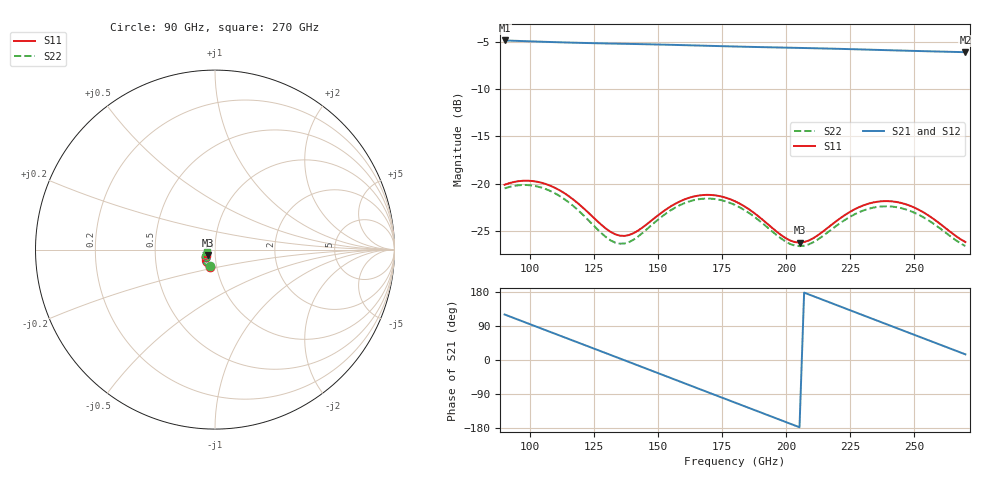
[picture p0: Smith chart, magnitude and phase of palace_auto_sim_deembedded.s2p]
! Created with skrf 1.11.0 (http://scikit-rf.org).
# GHz S DB R 50.0
!freq dBS11 angS11 dBS21 angS21 dBS12 angS12 dBS22 angS22
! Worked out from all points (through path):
!   101 points, 90 GHz to 270 GHz, reference 50 ohm
!   highest |S21| = -4.87 dB at 90 GHz (marker M1); lowest = -6.1 dB at 270 GHz (marker M2)
!   group delay of S21, straight-line fit = 7.18 ps
!   lowest |S11| = -26.2 dB at 205.2 GHz (marker M3), VSWR 1.10, Z = 46.3 - j2.87 ohm
!   |S11| at or under -10 dB: start of sweep to end of sweep
!   |S22| runs from -26.6 to -20.1 dB; largest |S21 - S12| = 9.7e-14
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90  -20.10 -106.8  -4.87 120.1  -4.87 120.1  -20.49 -108.4
97.2  -19.69 -117.1  -4.93 101.5  -4.93 101.5  -20.13 -119.1
104.4  -19.89 -127.8  -5.00 82.9  -5.00 82.9  -20.41 -130.2
111.6  -20.71 -137.4  -5.06 64.3  -5.06 64.3  -21.31 -140.1
120.6  -22.53 -144.9  -5.13 41.2  -5.13 41.2  -23.28 -147.7
127.8  -24.34 -143.7  -5.17 22.6  -5.17 22.6  -25.22 -145.9
135  -25.48 -133.9  -5.21 4.0  -5.21 4.0  -26.34 -134.7
142.2  -24.94 -122.7  -5.25 -14.6  -5.25 -14.6  -25.56 -123.1
151.2  -23.08 -119.6  -5.30 -37.9  -5.30 -37.9  -23.52 -120.9
165.6  -21.25 -132.1  -5.40 -75.2  -5.40 -75.2  -21.65 -135.1
172.8  -21.25 -140.8  -5.45 -93.8  -5.45 -93.8  -21.64 -144.5
180  -21.85 -148.8  -5.50 -112.4  -5.50 -112.4  -22.24 -153.0
192.6  -24.22 -155.2  -5.58 -145.0  -5.58 -145.0  -24.60 -160.2
205.2  -26.22 -140.7  -5.65 -177.5  -5.65 -177.5  -26.59 -147.1
210.6  -25.75 -132.0  -5.69 168.5  -5.69 168.5  -26.17 -138.9
217.8  -24.32 -126.9  -5.73 149.8  -5.73 149.8  -24.81 -134.2
226.8  -22.69 -130.1  -5.80 126.5  -5.80 126.5  -23.22 -137.7
234  -21.98 -136.6  -5.85 107.9  -5.85 107.9  -22.52 -144.5
241.2  -21.86 -144.3  -5.91 89.3  -5.91 89.3  -22.41 -152.4
253.8  -23.05 -155.7  -6.00 56.7  -6.00 56.7  -23.58 -164.3
262.8  -24.80 -157.3  -6.06 33.5  -6.06 33.5  -25.27 -166.5
270  -26.16 -150.9  -6.10 14.9  -6.10 14.9  -26.58 -161.1
